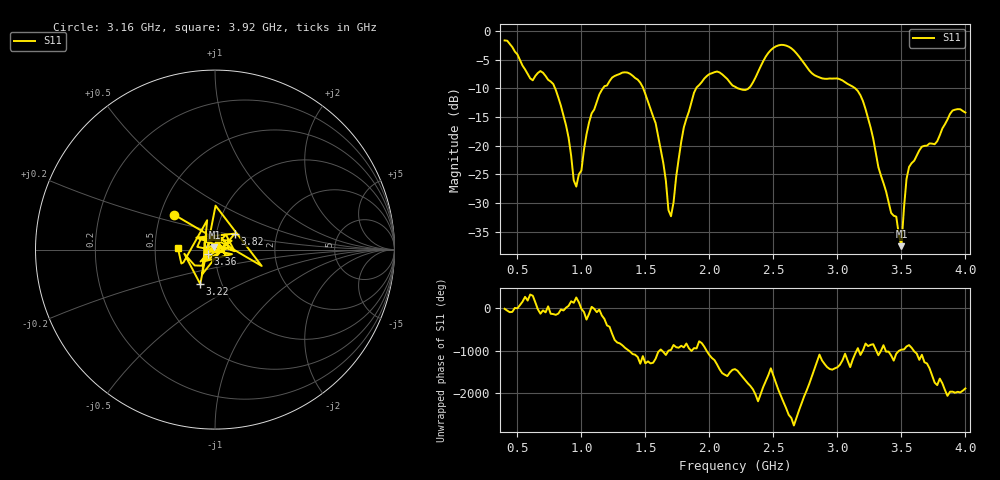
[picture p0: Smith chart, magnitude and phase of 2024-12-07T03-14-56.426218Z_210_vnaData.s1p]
!Created with skrf (http://scikit-rf.org).
# Hz S RI R 50.0
!freq ReS11 ImS11
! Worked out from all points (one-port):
!   181 points, 400 MHz to 4 GHz, reference 50 ohm
!   lowest |S11| = -37.6 dB at 3.5 GHz (marker M1), VSWR 1.03, Z = 49.6 + j1.27 ohm
!   |S11| at or under -10 dB: 794.9 MHz to 1.167 GHz (372.6 MHz wide, 38 % of centre); 1.483 GHz to 1.896 GHz (412.7 MHz wide, 24.4 % of centre); 3.141 GHz to end of sweep (the widest 3 of 4)
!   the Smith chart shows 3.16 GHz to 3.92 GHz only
!   S11 on the Smith chart (normalised r, x): 3.16 GHz: 0.59, +0.25; 3.22 GHz: 0.79, -0.32; 3.36 GHz: 0.92, -0.04; 3.82 GHz: 1.22, +0.22; 3.92 GHz: 0.66, +0.01
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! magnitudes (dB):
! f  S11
! 400 MHz  -1.6
! 600 MHz  -8.2
! 780 MHz  -9.2
! 860 MHz  -14.7
! 960 MHz  -27.1
! 1.08 GHz  -14.3
! 1.3 GHz  -7.5
! 1.5 GHz  -11.0
! 1.58 GHz  -16.1
! 1.7 GHz  -32.3
! 1.76 GHz  -22.3
! 1.9 GHz  -9.8
! 2.06 GHz  -7.0
! 2.2 GHz  -9.7
! 2.32 GHz  -9.7
! 2.5 GHz  -2.9
! 2.66 GHz  -3.4
! 2.82 GHz  -7.7
! 3.1 GHz  -9.4
! 3.16 GHz  -10.5
! 3.22 GHz  -13.6
! 3.36 GHz  -26.5
! 3.5 GHz  -37.6
! 3.54 GHz  -25.8
! 3.56 GHz  -23.7
! 3.82 GHz  -17.0
! 3.92 GHz  -13.7
! 4 GHz  -14.2
